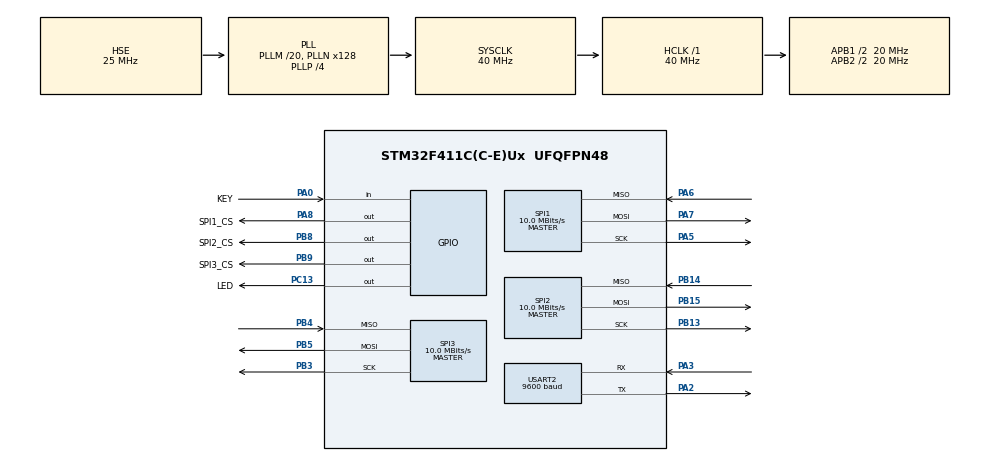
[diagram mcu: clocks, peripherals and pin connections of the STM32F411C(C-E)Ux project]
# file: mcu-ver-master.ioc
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Mcu.Family=STM32F4
Mcu.Name=STM32F411C(C-E)Ux
Mcu.Package=UFQFPN48
NVIC.PriorityGroup=NVIC_PRIORITYGROUP_4
NVIC.RCC_IRQn=true\:0\:0\:false\:false\:true\:true\:false
NVIC.SPI1_IRQn=true\:0\:0\:false\:false\:true\:true\:true
NVIC.SPI2_IRQn=true\:0\:0\:false\:false\:true\:true\:true
NVIC.SPI3_IRQn=true\:0\:0\:false\:false\:true\:true\:true
PA0-WKUP.GPIO_Label=KEY
PA0-WKUP.GPIO_PuPd=GPIO_PULLUP
PA0-WKUP.Signal=GPIO_Input
PA13.Mode=Serial_Wire
PA13.Signal=SYS_JTMS-SWDIO
PA14.Mode=Serial_Wire
PA14.Signal=SYS_JTCK-SWCLK
PA2.GPIO_PuPd=GPIO_NOPULL
PA2.Mode=Asynchronous
PA2.Signal=USART2_TX
PA3.GPIO_PuPd=GPIO_PULLDOWN
PA3.Mode=Asynchronous
PA3.Signal=USART2_RX
PA5.Mode=Full_Duplex_Master
PA5.Signal=SPI1_SCK
PA6.GPIO_PuPd=GPIO_PULLDOWN
PA6.Mode=Full_Duplex_Master
PA6.Signal=SPI1_MISO
PA7.Mode=Full_Duplex_Master
PA7.Signal=SPI1_MOSI
PA8.GPIO_Label=SPI1_CS
PA8.Signal=GPIO_Output
PB13.Mode=Full_Duplex_Master
PB13.Signal=SPI2_SCK
PB14.GPIO_PuPd=GPIO_PULLDOWN
PB14.Mode=Full_Duplex_Master
PB14.Signal=SPI2_MISO
PB15.Mode=Full_Duplex_Master
PB15.Signal=SPI2_MOSI
PB3.Mode=Full_Duplex_Master
PB3.Signal=SPI3_SCK
PB4.GPIO_PuPd=GPIO_PULLDOWN
PB4.Mode=Full_Duplex_Master
PB4.Signal=SPI3_MISO
PB5.Mode=Full_Duplex_Master
PB5.Signal=SPI3_MOSI
PB8.GPIO_Label=SPI2_CS
PB8.Signal=GPIO_Output
PB9.GPIO_Label=SPI3_CS
PB9.Signal=GPIO_Output
PC13-ANTI_TAMP.GPIO_Label=LED
PC13-ANTI_TAMP.Signal=GPIO_Output
PC14-OSC32_IN.Mode=LSE-External-Oscillator
PC14-OSC32_IN.Signal=RCC_OSC32_IN
PC15-OSC32_OUT.Mode=LSE-External-Oscillator
PC15-OSC32_OUT.Signal=RCC_OSC32_OUT
PH0\ -\ OSC_IN.Mode=HSE-External-Oscillator
PH0\ -\ OSC_IN.Signal=RCC_OSC_IN
PH1\ -\ OSC_OUT.Mode=HSE-External-Oscillator
PH1\ -\ OSC_OUT.Signal=RCC_OSC_OUT
ProjectManager.HeapSize=0x200
ProjectManager.StackSize=0x400
ProjectManager.TargetToolchain=STM32CubeIDE
RCC.48MHZClocksFreq_Value=40000000
RCC.AHBFreq_Value=40000000
RCC.APB1CLKDivider=RCC_HCLK_DIV2
RCC.APB1Freq_Value=20000000
RCC.APB1TimFreq_Value=40000000
RCC.APB2CLKDivider=RCC_HCLK_DIV2
RCC.APB2Freq_Value=20000000
RCC.APB2TimFreq_Value=40000000
RCC.CortexFreq_Value=40000000
RCC.HCLKFreq_Value=40000000
RCC.HSE_VALUE=25000000
RCC.HSI_VALUE=16000000
RCC.PLLM=20
RCC.PLLN=128
RCC.PLLP=RCC_PLLP_DIV4
RCC.PLLSourceVirtual=RCC_PLLSOURCE_HSE
RCC.RCC_RTC_Clock_Source=RCC_RTCCLKSOURCE_LSE
RCC.RCC_RTC_Clock_SourceVirtual=RCC_RTCCLKSOURCE_LSE
RCC.SYSCLKFreq_VALUE=40000000
RCC.SYSCLKSource=RCC_SYSCLKSOURCE_PLLCLK
RCC.VCOOutputFreq_Value=160000000
SPI1.BaudRatePrescaler=SPI_BAUDRATEPRESCALER_2
SPI1.CLKPhase=SPI_PHASE_2EDGE
SPI1.CalculateBaudRate=10.0 MBits/s
SPI1.Direction=SPI_DIRECTION_2LINES
SPI1.Mode=SPI_MODE_MASTER
SPI1.VirtualType=VM_MASTER
SPI2.BaudRatePrescaler=SPI_BAUDRATEPRESCALER_2
SPI2.CLKPhase=SPI_PHASE_2EDGE
SPI2.CalculateBaudRate=10.0 MBits/s
SPI2.Direction=SPI_DIRECTION_2LINES
SPI2.Mode=SPI_MODE_MASTER
SPI2.VirtualType=VM_MASTER
SPI3.BaudRatePrescaler=SPI_BAUDRATEPRESCALER_2
SPI3.CLKPhase=SPI_PHASE_2EDGE
SPI3.CalculateBaudRate=10.0 MBits/s
SPI3.Direction=SPI_DIRECTION_2LINES
SPI3.Mode=SPI_MODE_MASTER
SPI3.VirtualType=VM_MASTER
USART2.BaudRate=9600
USART2.VirtualMode=VM_ASYNC
VP_RTC_VS_RTC_Activate.Mode=RTC_Enabled
board=custom

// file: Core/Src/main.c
/* USER CODE BEGIN Header */
/**
  ******************************************************************************
  * @file           : main.c
  * @brief          : Main program body
  ******************************************************************************
  * @attention
  *
  * <h2><center>&copy; Copyright (c) 2022 STMicroelectronics.
  * All rights reserved.</center></h2>
  *
  * This software component is licensed by ST under BSD 3-Clause license,
  * the "License"; You may not use this file except in compliance with the
  * License. You may obtain a copy of the License at:
  *                        opensource.org/licenses/BSD-3-Clause
  *
  ******************************************************************************
  */
/* USER CODE END Header */
#include "main.h"
#include "rtc.h"
#include "spi.h"
#include "usart.h"
#include "gpio.h"

/* USER CODE BEGIN PD */
#pragma clang diagnostic push
#pragma ide diagnostic ignored "EndlessLoop"
#define DAT_SIZE 1000
/* USER CODE END PD */

void SystemClock_Config(void);

/* USER CODE BEGIN 0 */
uint8_t dumb_prng(){
    static uint8_t prev1 = 220;
    static uint8_t prev2 = 6;
    uint8_t ret = prev1 + prev2;
    prev1 = prev2;
    prev2 = ret;
    return ret;
}

void spi_recv(uint8_t* recv, size_t dat_size, SPI_TypeDef* spi_dev){
    // Global interrupt disable to ensure smooth operation
    __disable_irq();

    // Receive Data
    LL_SPI_Disable(spi_dev);
    LL_SPI_Enable(spi_dev);
    LL_SPI_SetMode(spi_dev, LL_SPI_MODE_MASTER);

    __asm__ __volatile__ (
    // r0: A byte of zeroes
    // r5: Temp storage for received value
    // r6: Temp storage for SPI status register value
    // r7: Array pointer
    // Setup
    "mov r7, %[ptr]\n\t"          // Set up array pointer
    "mov r0, #0\n\t"              // Set up zero register
    "ldr r5, [%[SPI_DR]]\n\t"     // Read value from RX buffer to clear anything that might be there already
    // Main loop
    "loop1_start:\n\t"            //
    "cmp r7, %[ptr_end]\n\t"      // Have we reached the end of the array?
    "bcs loop1_end\n\t"           // If so, exit the loop
    "wait_loop1:\n\t"             // Beginning of polling loop for RX/TX readiness bits
    "ldr r6, [%[SPI_SR]]\n\t"     // Load SPI status register
    "tst r6, %[COND]\n\t"         // Is the TX buffer ready?
    "beq wait_loop1\n\t"          // If not, keep polling
    "strb r0, [%[SPI_DR]]\n\t"    // Write a bunch of zeroes to the TX buffer
    "wait_loop2:\n\t"             // Beginning of polling loop for RX/TX readiness bits
    "ldr r6, [%[SPI_SR]]\n\t"     // Load SPI status register
    "tst r6, %[COND2]\n\t"        // Is the RX buffer ready?
    "beq wait_loop2\n\t"          // If not, keep polling
    "ldr r5, [%[SPI_DR]]\n\t"     // Read value from RX buffer
    "strb r5, [r7], #1\n\t"       // Store received value and increment pointer
    "b loop1_start\n\t"           // Loop the loop
    "loop1_end:\n\t"              //
    :
    : [SPI_SR] "r" (&(spi_dev->SR)), [SPI_DR] "r" (&(spi_dev->DR)), [COND] "I" (SPI_SR_TXE), [COND2] "I" (SPI_SR_RXNE), [ptr] "r" (recv), [ptr_end] "r" (recv + dat_size)
    : "r5", "r6", "r7", "r0", "memory"
    );

    __enable_irq();

    // Wait for SPI peripheral to finish anything it's doing
    while(LL_SPI_IsActiveFlag_BSY(spi_dev));
    LL_SPI_Disable(spi_dev);

}

uint8_t spi_test(const uint8_t* dat, size_t dat_size, SPI_TypeDef* spi_dev){
    uint8_t recv[dat_size];
    for(size_t i = 0; i < dat_size; i++){
        recv[i] = 0;
    }
    spi_recv(recv, dat_size, spi_dev);
    // Make sure the data is what it's supposed to be
    for(unsigned int i = 0; i < dat_size; i++){
        if(recv[i] != dat[i]){
            return 1;
        }
    }
    return 0;
}

uint8_t uart_test(const uint8_t* dat, size_t dat_size, UART_HandleTypeDef* uart_dev){
    uint8_t recv[dat_size];
    for(size_t i = 0; i < dat_size; i++){
        recv[i] = 0;
    }
    HAL_UART_Abort(uart_dev);
    HAL_UART_Receive(uart_dev, recv, dat_size, HAL_MAX_DELAY);
    // Make sure the data is what it's supposed to be
    for(unsigned int i = 0; i < dat_size; i++){
        if(recv[i] != dat[i]){
            return 1;
        }
    }
    return 0;
}

/* USER CODE END 0 */

int main(void)
{

  /* MCU Configuration--------------------------------------------------------*/

  /* Reset of all peripherals, Initializes the Flash interface and the Systick. */
  HAL_Init();

  /* Configure the system clock */
  SystemClock_Config();

  /* Initialize all configured peripherals */
  MX_GPIO_Init();
  MX_RTC_Init();
  MX_SPI1_Init();
  MX_SPI2_Init();
  MX_SPI3_Init();
  MX_USART2_UART_Init();
  /* USER CODE BEGIN 2 */

    // Generate test data
    uint8_t dat[DAT_SIZE];
    for(unsigned int i = 0; i < DAT_SIZE; i++){
      dat[i] = dumb_prng();
    }

    // Initially set LED low
    HAL_GPIO_WritePin(LED_GPIO_Port, LED_Pin, GPIO_PIN_SET);

    // Variable for counting the number of failed tests
    uint8_t errcnt = 0;

    LL_SPI_Disable(SPI1);
    LL_SPI_Disable(SPI2);
    LL_SPI_Disable(SPI3);

    // Wait for button press
    while(HAL_GPIO_ReadPin(KEY_GPIO_Port, KEY_Pin));

    // Test SPI
    errcnt += spi_test(dat, DAT_SIZE, SPI1);
    HAL_Delay(10);
    errcnt += spi_test(dat, DAT_SIZE, SPI2);
    HAL_Delay(10);
    errcnt += spi_test(dat, DAT_SIZE, SPI3);
    HAL_Delay(1);
    errcnt+= uart_test(dat, DAT_SIZE, &huart2);

    // Light up the LED if all tests passed
    if(errcnt == 0){
      HAL_GPIO_WritePin(LED_GPIO_Port, LED_Pin, GPIO_PIN_RESET);
    uint8_t dumb_prng(){
    static uint8_t prev1 = 220;
    static uint8_t prev2 = 6;
    uint8_t ret = prev1 + prev2;
    prev1 = prev2;
    prev2 = ret;
    return ret;
}
}

  /* USER CODE END 2 */

  /* Infinite loop */
  /* USER CODE BEGIN WHILE */
    while (1);
    /* USER CODE END WHILE */

}

void SystemClock_Config(void)
{
  RCC_OscInitTypeDef RCC_OscInitStruct = {0};
  RCC_ClkInitTypeDef RCC_ClkInitStruct = {0};
  RCC_PeriphCLKInitTypeDef PeriphClkInitStruct = {0};

  /** Configure the main internal regulator output voltage
  */
  __HAL_RCC_PWR_CLK_ENABLE();
  __HAL_PWR_VOLTAGESCALING_CONFIG(PWR_REGULATOR_VOLTAGE_SCALE1);
  /** Initializes the RCC Oscillators according to the specified parameters
  * in the RCC_OscInitTypeDef structure.
  */
  RCC_OscInitStruct.OscillatorType = RCC_OSCILLATORTYPE_HSE|RCC_OSCILLATORTYPE_LSE;
  RCC_OscInitStruct.HSEState = RCC_HSE_ON;
  RCC_OscInitStruct.LSEState = RCC_LSE_ON;
  RCC_OscInitStruct.PLL.PLLState = RCC_PLL_ON;
  RCC_OscInitStruct.PLL.PLLSource = RCC_PLLSOURCE_HSE;
  RCC_OscInitStruct.PLL.PLLM = 20;
  RCC_OscInitStruct.PLL.PLLN = 128;
  RCC_OscInitStruct.PLL.PLLP = RCC_PLLP_DIV4;
  RCC_OscInitStruct.PLL.PLLQ = 4;
  if (HAL_RCC_OscConfig(&RCC_OscInitStruct) != HAL_OK)
  {
    Error_Handler();
  }
  /** Initializes the CPU, AHB and APB buses clocks
  */
  RCC_ClkInitStruct.ClockType = RCC_CLOCKTYPE_HCLK|RCC_CLOCKTYPE_SYSCLK
                              |RCC_CLOCKTYPE_PCLK1|RCC_CLOCKTYPE_PCLK2;
  RCC_ClkInitStruct.SYSCLKSource = RCC_SYSCLKSOURCE_PLLCLK;
  RCC_ClkInitStruct.AHBCLKDivider = RCC_SYSCLK_DIV1;
  RCC_ClkInitStruct.APB1CLKDivider = RCC_HCLK_DIV2;
  RCC_ClkInitStruct.APB2CLKDivider = RCC_HCLK_DIV2;

  if (HAL_RCC_ClockConfig(&RCC_ClkInitStruct, FLASH_LATENCY_1) != HAL_OK)
  {
    Error_Handler();
  }
  PeriphClkInitStruct.PeriphClockSelection = RCC_PERIPHCLK_RTC;
  PeriphClkInitStruct.RTCClockSelection = RCC_RTCCLKSOURCE_LSE;
  if (HAL_RCCEx_PeriphCLKConfig(&PeriphClkInitStruct) != HAL_OK)
  {
    Error_Handler();
  }
}

void Error_Handler(void)
{
}

/************************ (C) COPYRIGHT STMicroelectronics *****END OF FILE****/
